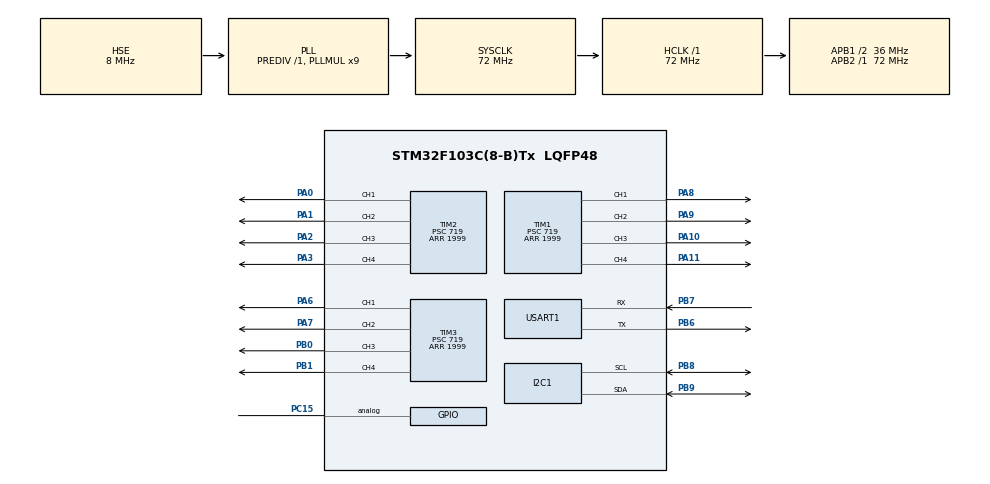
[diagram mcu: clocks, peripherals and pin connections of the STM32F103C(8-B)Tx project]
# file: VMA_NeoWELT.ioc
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Dma.Request0=USART1_RX
Dma.USART1_RX.0.Direction=DMA_PERIPH_TO_MEMORY
Dma.USART1_RX.0.Instance=DMA1_Channel5
Dma.USART1_RX.0.MemDataAlignment=DMA_MDATAALIGN_BYTE
Dma.USART1_RX.0.MemInc=DMA_MINC_ENABLE
Dma.USART1_RX.0.Mode=DMA_NORMAL
Dma.USART1_RX.0.PeriphDataAlignment=DMA_PDATAALIGN_BYTE
Dma.USART1_RX.0.PeriphInc=DMA_PINC_DISABLE
Dma.USART1_RX.0.Priority=DMA_PRIORITY_LOW
Mcu.Family=STM32F1
Mcu.Name=STM32F103C(8-B)Tx
Mcu.Package=LQFP48
NVIC.DMA1_Channel5_IRQn=true\:0\:0\:false\:false\:true\:false\:true\:true
NVIC.I2C1_ER_IRQn=true\:0\:0\:false\:false\:true\:true\:true\:true
NVIC.I2C1_EV_IRQn=true\:0\:0\:false\:false\:true\:true\:true\:true
NVIC.PriorityGroup=NVIC_PRIORITYGROUP_4
NVIC.USART1_IRQn=true\:0\:0\:false\:false\:true\:true\:true\:true
PA0-WKUP.Signal=S_TIM2_CH1_ETR
PA1.Signal=S_TIM2_CH2
PA10.Signal=S_TIM1_CH3
PA11.Signal=S_TIM1_CH4
PA13.Mode=Serial_Wire
PA13.Signal=SYS_JTMS-SWDIO
PA14.Mode=Serial_Wire
PA14.Signal=SYS_JTCK-SWCLK
PA2.Signal=S_TIM2_CH3
PA3.Signal=S_TIM2_CH4
PA6.Signal=S_TIM3_CH1
PA7.Signal=S_TIM3_CH2
PA8.Signal=S_TIM1_CH1
PA9.Signal=S_TIM1_CH2
PB0.Signal=S_TIM3_CH3
PB1.Signal=S_TIM3_CH4
PB6.Mode=Asynchronous
PB6.Signal=USART1_TX
PB7.Mode=Asynchronous
PB7.Signal=USART1_RX
PB8.Mode=I2C
PB8.Signal=I2C1_SCL
PB9.Mode=I2C
PB9.Signal=I2C1_SDA
PC15-OSC32_OUT.Signal=GPIO_Analog
PD0-OSC_IN.Mode=HSE-External-Oscillator
PD0-OSC_IN.Signal=RCC_OSC_IN
PD1-OSC_OUT.Mode=HSE-External-Oscillator
PD1-OSC_OUT.Signal=RCC_OSC_OUT
ProjectManager.HeapSize=0x200
ProjectManager.StackSize=0x400
ProjectManager.TargetToolchain=STM32CubeIDE
RCC.ADCPresc=RCC_ADCPCLK2_DIV6
RCC.AHBFreq_Value=72000000
RCC.APB1CLKDivider=RCC_HCLK_DIV2
RCC.APB1Freq_Value=36000000
RCC.APB1TimFreq_Value=72000000
RCC.APB2Freq_Value=72000000
RCC.APB2TimFreq_Value=72000000
RCC.HCLKFreq_Value=72000000
RCC.PLLMUL=RCC_PLL_MUL9
RCC.PLLSourceVirtual=RCC_PLLSOURCE_HSE
RCC.SYSCLKFreq_VALUE=72000000
RCC.SYSCLKSource=RCC_SYSCLKSOURCE_PLLCLK
RCC.USBFreq_Value=72000000
SH.S_TIM1_CH1.0=TIM1_CH1,PWM Generation1 CH1
SH.S_TIM1_CH2.0=TIM1_CH2,PWM Generation2 CH2
SH.S_TIM1_CH3.0=TIM1_CH3,PWM Generation3 CH3
SH.S_TIM1_CH4.0=TIM1_CH4,PWM Generation4 CH4
SH.S_TIM2_CH1_ETR.0=TIM2_CH1,PWM Generation1 CH1
SH.S_TIM2_CH2.0=TIM2_CH2,PWM Generation2 CH2
SH.S_TIM2_CH3.0=TIM2_CH3,PWM Generation3 CH3
SH.S_TIM2_CH4.0=TIM2_CH4,PWM Generation4 CH4
SH.S_TIM3_CH1.0=TIM3_CH1,PWM Generation1 CH1
SH.S_TIM3_CH2.0=TIM3_CH2,PWM Generation2 CH2
SH.S_TIM3_CH3.0=TIM3_CH3,PWM Generation3 CH3
SH.S_TIM3_CH4.0=TIM3_CH4,PWM Generation4 CH4
TIM1.Channel-PWM\ Generation1\ CH1=TIM_CHANNEL_1
TIM1.Channel-PWM\ Generation2\ CH2=TIM_CHANNEL_2
TIM1.Channel-PWM\ Generation3\ CH3=TIM_CHANNEL_3
TIM1.Channel-PWM\ Generation4\ CH4=TIM_CHANNEL_4
TIM1.Period=1999
TIM1.Prescaler=719
TIM2.Channel-PWM\ Generation1\ CH1=TIM_CHANNEL_1
TIM2.Channel-PWM\ Generation2\ CH2=TIM_CHANNEL_2
TIM2.Channel-PWM\ Generation3\ CH3=TIM_CHANNEL_3
TIM2.Channel-PWM\ Generation4\ CH4=TIM_CHANNEL_4
TIM2.Period=1999
TIM2.Prescaler=719
TIM3.Channel-PWM\ Generation1\ CH1=TIM_CHANNEL_1
TIM3.Channel-PWM\ Generation2\ CH2=TIM_CHANNEL_2
TIM3.Channel-PWM\ Generation3\ CH3=TIM_CHANNEL_3
TIM3.Channel-PWM\ Generation4\ CH4=TIM_CHANNEL_4
TIM3.Period=1999
TIM3.Prescaler=719
USART1.VirtualMode=VM_ASYNC
board=custom

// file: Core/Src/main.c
/* USER CODE BEGIN Header */
/**
 ******************************************************************************
 * @file           : main.c
 * @brief          : Main program body
 ******************************************************************************
 * @attention
 *
 * Copyright (c) 2025 STMicroelectronics.
 * All rights reserved.
 *
 * This software is licensed under terms that can be found in the LICENSE file
 * in the root directory of this software component.
 * If no LICENSE file comes with this software, it is provided AS-IS.
 *
 ******************************************************************************
 */
/* USER CODE END Header */
#include "main.h"

/* USER CODE BEGIN Includes */
#include "Thruster.h"
#include "hydrolib_ring_queue.h"
/* USER CODE END Includes */

I2C_HandleTypeDef hi2c1;

TIM_HandleTypeDef htim1;
TIM_HandleTypeDef htim2;
TIM_HandleTypeDef htim3;

UART_HandleTypeDef huart1;
DMA_HandleTypeDef hdma_usart1_rx;

/* USER CODE BEGIN PV */
uint8_t buffer_RX[28];
uint8_t buffer_ring[128];
hydrolib_RingQueue ringQueue;
int16_t buffer_index;
uint16_t data[12];
/* USER CODE END PV */

void SystemClock_Config(void);
static void MX_GPIO_Init(void);
static void MX_DMA_Init(void);
static void MX_I2C1_Init(void);
static void MX_TIM1_Init(void);
static void MX_TIM2_Init(void);
static void MX_TIM3_Init(void);
static void MX_USART1_UART_Init(void);

int main(void) {

	/* MCU Configuration--------------------------------------------------------*/

	/* Reset of all peripherals, Initializes the Flash interface and the Systick. */
	HAL_Init();

	/* Configure the system clock */
	SystemClock_Config();

	/* Initialize all configured peripherals */
	MX_GPIO_Init();
	MX_DMA_Init();
	MX_I2C1_Init();
	MX_TIM1_Init();
	MX_TIM2_Init();
	MX_TIM3_Init();
	MX_USART1_UART_Init();
	/* USER CODE BEGIN 2 */
	Thruster_Init();
//	hydrolib_RingQueue_Init(&ringQueue, buffer_ring, sizeof(buffer_ring));
//	HAL_UARTEx_ReceiveToIdle_DMA(&huart1, buffer_RX, 80);
	/* USER CODE END 2 */

	/* Infinite loop */
	while (1) {

		/* USER CODE BEGIN 3 */
		HAL_UART_Receive(&huart1, buffer_RX, 28, 200);
		for (uint8_t i = 0; i < 13; i++) {   // Searching for the packet header
			if ((buffer_RX[i] == 0xff) && (buffer_RX[i + 1] == 0xfd)) {
				buffer_index = i + 2;
				for (uint8_t j = 0; j < 12; j++) {

					data[j] = buffer_RX[buffer_index + j];
				}
				Thruster_Set_Speed(data);
				break;
			}
		}

	}
	/* USER CODE END 3 */
}

void SystemClock_Config(void) {
	RCC_OscInitTypeDef RCC_OscInitStruct = { 0 };
	RCC_ClkInitTypeDef RCC_ClkInitStruct = { 0 };

	/** Initializes the RCC Oscillators according to the specified parameters
	 * in the RCC_OscInitTypeDef structure.
	 */
	RCC_OscInitStruct.OscillatorType = RCC_OSCILLATORTYPE_HSE;
	RCC_OscInitStruct.HSEState = RCC_HSE_ON;
	RCC_OscInitStruct.HSEPredivValue = RCC_HSE_PREDIV_DIV1;
	RCC_OscInitStruct.HSIState = RCC_HSI_ON;
	RCC_OscInitStruct.PLL.PLLState = RCC_PLL_ON;
	RCC_OscInitStruct.PLL.PLLSource = RCC_PLLSOURCE_HSE;
	RCC_OscInitStruct.PLL.PLLMUL = RCC_PLL_MUL9;
	if (HAL_RCC_OscConfig(&RCC_OscInitStruct) != HAL_OK) {
		Error_Handler();
	}

	/** Initializes the CPU, AHB and APB buses clocks
	 */
	RCC_ClkInitStruct.ClockType = RCC_CLOCKTYPE_HCLK | RCC_CLOCKTYPE_SYSCLK
			| RCC_CLOCKTYPE_PCLK1 | RCC_CLOCKTYPE_PCLK2;
	RCC_ClkInitStruct.SYSCLKSource = RCC_SYSCLKSOURCE_PLLCLK;
	RCC_ClkInitStruct.AHBCLKDivider = RCC_SYSCLK_DIV1;
	RCC_ClkInitStruct.APB1CLKDivider = RCC_HCLK_DIV2;
	RCC_ClkInitStruct.APB2CLKDivider = RCC_HCLK_DIV1;

	if (HAL_RCC_ClockConfig(&RCC_ClkInitStruct, FLASH_LATENCY_2) != HAL_OK) {
		Error_Handler();
	}
}

static void MX_I2C1_Init(void) {

	hi2c1.Instance = I2C1;
	hi2c1.Init.ClockSpeed = 100000;
	hi2c1.Init.DutyCycle = I2C_DUTYCYCLE_2;
	hi2c1.Init.OwnAddress1 = 0;
	hi2c1.Init.AddressingMode = I2C_ADDRESSINGMODE_7BIT;
	hi2c1.Init.DualAddressMode = I2C_DUALADDRESS_DISABLE;
	hi2c1.Init.OwnAddress2 = 0;
	hi2c1.Init.GeneralCallMode = I2C_GENERALCALL_DISABLE;
	hi2c1.Init.NoStretchMode = I2C_NOSTRETCH_DISABLE;
	if (HAL_I2C_Init(&hi2c1) != HAL_OK) {
		Error_Handler();
	}

}

static void MX_TIM1_Init(void) {

	TIM_MasterConfigTypeDef sMasterConfig = { 0 };
	TIM_OC_InitTypeDef sConfigOC = { 0 };
	TIM_BreakDeadTimeConfigTypeDef sBreakDeadTimeConfig = { 0 };

	htim1.Instance = TIM1;
	htim1.Init.Prescaler = 719;
	htim1.Init.CounterMode = TIM_COUNTERMODE_UP;
	htim1.Init.Period = 1999;
	htim1.Init.ClockDivision = TIM_CLOCKDIVISION_DIV1;
	htim1.Init.RepetitionCounter = 0;
	htim1.Init.AutoReloadPreload = TIM_AUTORELOAD_PRELOAD_DISABLE;
	if (HAL_TIM_PWM_Init(&htim1) != HAL_OK) {
		Error_Handler();
	}
	sMasterConfig.MasterOutputTrigger = TIM_TRGO_RESET;
	sMasterConfig.MasterSlaveMode = TIM_MASTERSLAVEMODE_DISABLE;
	if (HAL_TIMEx_MasterConfigSynchronization(&htim1, &sMasterConfig)
			!= HAL_OK) {
		Error_Handler();
	}
	sConfigOC.OCMode = TIM_OCMODE_PWM1;
	sConfigOC.Pulse = 0;
	sConfigOC.OCPolarity = TIM_OCPOLARITY_HIGH;
	sConfigOC.OCNPolarity = TIM_OCNPOLARITY_HIGH;
	sConfigOC.OCFastMode = TIM_OCFAST_DISABLE;
	sConfigOC.OCIdleState = TIM_OCIDLESTATE_RESET;
	sConfigOC.OCNIdleState = TIM_OCNIDLESTATE_RESET;
	if (HAL_TIM_PWM_ConfigChannel(&htim1, &sConfigOC, TIM_CHANNEL_1)
			!= HAL_OK) {
		Error_Handler();
	}
	if (HAL_TIM_PWM_ConfigChannel(&htim1, &sConfigOC, TIM_CHANNEL_2)
			!= HAL_OK) {
		Error_Handler();
	}
	if (HAL_TIM_PWM_ConfigChannel(&htim1, &sConfigOC, TIM_CHANNEL_3)
			!= HAL_OK) {
		Error_Handler();
	}
	if (HAL_TIM_PWM_ConfigChannel(&htim1, &sConfigOC, TIM_CHANNEL_4)
			!= HAL_OK) {
		Error_Handler();
	}
	sBreakDeadTimeConfig.OffStateRunMode = TIM_OSSR_DISABLE;
	sBreakDeadTimeConfig.OffStateIDLEMode = TIM_OSSI_DISABLE;
	sBreakDeadTimeConfig.LockLevel = TIM_LOCKLEVEL_OFF;
	sBreakDeadTimeConfig.DeadTime = 0;
	sBreakDeadTimeConfig.BreakState = TIM_BREAK_DISABLE;
	sBreakDeadTimeConfig.BreakPolarity = TIM_BREAKPOLARITY_HIGH;
	sBreakDeadTimeConfig.AutomaticOutput = TIM_AUTOMATICOUTPUT_DISABLE;
	if (HAL_TIMEx_ConfigBreakDeadTime(&htim1, &sBreakDeadTimeConfig)
			!= HAL_OK) {
		Error_Handler();
	}
	HAL_TIM_MspPostInit(&htim1);

}

static void MX_TIM2_Init(void) {

	TIM_MasterConfigTypeDef sMasterConfig = { 0 };
	TIM_OC_InitTypeDef sConfigOC = { 0 };

	htim2.Instance = TIM2;
	htim2.Init.Prescaler = 719;
	htim2.Init.CounterMode = TIM_COUNTERMODE_UP;
	htim2.Init.Period = 1999;
	htim2.Init.ClockDivision = TIM_CLOCKDIVISION_DIV1;
	htim2.Init.AutoReloadPreload = TIM_AUTORELOAD_PRELOAD_DISABLE;
	if (HAL_TIM_PWM_Init(&htim2) != HAL_OK) {
		Error_Handler();
	}
	sMasterConfig.MasterOutputTrigger = TIM_TRGO_RESET;
	sMasterConfig.MasterSlaveMode = TIM_MASTERSLAVEMODE_DISABLE;
	if (HAL_TIMEx_MasterConfigSynchronization(&htim2, &sMasterConfig)
			!= HAL_OK) {
		Error_Handler();
	}
	sConfigOC.OCMode = TIM_OCMODE_PWM1;
	sConfigOC.Pulse = 0;
	sConfigOC.OCPolarity = TIM_OCPOLARITY_HIGH;
	sConfigOC.OCFastMode = TIM_OCFAST_DISABLE;
	if (HAL_TIM_PWM_ConfigChannel(&htim2, &sConfigOC, TIM_CHANNEL_1)
			!= HAL_OK) {
		Error_Handler();
	}
	if (HAL_TIM_PWM_ConfigChannel(&htim2, &sConfigOC, TIM_CHANNEL_2)
			!= HAL_OK) {
		Error_Handler();
	}
	if (HAL_TIM_PWM_ConfigChannel(&htim2, &sConfigOC, TIM_CHANNEL_3)
			!= HAL_OK) {
		Error_Handler();
	}
	if (HAL_TIM_PWM_ConfigChannel(&htim2, &sConfigOC, TIM_CHANNEL_4)
			!= HAL_OK) {
		Error_Handler();
	}
	HAL_TIM_MspPostInit(&htim2);

}

static void MX_TIM3_Init(void) {

	TIM_MasterConfigTypeDef sMasterConfig = { 0 };
	TIM_OC_InitTypeDef sConfigOC = { 0 };

	htim3.Instance = TIM3;
	htim3.Init.Prescaler = 719;
	htim3.Init.CounterMode = TIM_COUNTERMODE_UP;
	htim3.Init.Period = 1999;
	htim3.Init.ClockDivision = TIM_CLOCKDIVISION_DIV1;
	htim3.Init.AutoReloadPreload = TIM_AUTORELOAD_PRELOAD_DISABLE;
	if (HAL_TIM_PWM_Init(&htim3) != HAL_OK) {
		Error_Handler();
	}
	sMasterConfig.MasterOutputTrigger = TIM_TRGO_RESET;
	sMasterConfig.MasterSlaveMode = TIM_MASTERSLAVEMODE_DISABLE;
	if (HAL_TIMEx_MasterConfigSynchronization(&htim3, &sMasterConfig)
			!= HAL_OK) {
		Error_Handler();
	}
	sConfigOC.OCMode = TIM_OCMODE_PWM1;
	sConfigOC.Pulse = 0;
	sConfigOC.OCPolarity = TIM_OCPOLARITY_HIGH;
	sConfigOC.OCFastMode = TIM_OCFAST_DISABLE;
	if (HAL_TIM_PWM_ConfigChannel(&htim3, &sConfigOC, TIM_CHANNEL_1)
			!= HAL_OK) {
		Error_Handler();
	}
	if (HAL_TIM_PWM_ConfigChannel(&htim3, &sConfigOC, TIM_CHANNEL_2)
			!= HAL_OK) {
		Error_Handler();
	}
	if (HAL_TIM_PWM_ConfigChannel(&htim3, &sConfigOC, TIM_CHANNEL_3)
			!= HAL_OK) {
		Error_Handler();
	}
	if (HAL_TIM_PWM_ConfigChannel(&htim3, &sConfigOC, TIM_CHANNEL_4)
			!= HAL_OK) {
		Error_Handler();
	}
	HAL_TIM_MspPostInit(&htim3);

}

static void MX_USART1_UART_Init(void) {

	huart1.Instance = USART1;
	huart1.Init.BaudRate = 115200;
	huart1.Init.WordLength = UART_WORDLENGTH_8B;
	huart1.Init.StopBits = UART_STOPBITS_1;
	huart1.Init.Parity = UART_PARITY_NONE;
	huart1.Init.Mode = UART_MODE_TX_RX;
	huart1.Init.HwFlowCtl = UART_HWCONTROL_NONE;
	huart1.Init.OverSampling = UART_OVERSAMPLING_16;
	if (HAL_UART_Init(&huart1) != HAL_OK) {
		Error_Handler();
	}

}

static void MX_DMA_Init(void) {

	/* DMA controller clock enable */
	__HAL_RCC_DMA1_CLK_ENABLE();

	/* DMA interrupt init */
	/* DMA1_Channel5_IRQn interrupt configuration */
	HAL_NVIC_SetPriority(DMA1_Channel5_IRQn, 0, 0);
	HAL_NVIC_EnableIRQ(DMA1_Channel5_IRQn);

}

static void MX_GPIO_Init(void) {
	GPIO_InitTypeDef GPIO_InitStruct = { 0 };

	/* GPIO Ports Clock Enable */
	__HAL_RCC_GPIOC_CLK_ENABLE();
	__HAL_RCC_GPIOD_CLK_ENABLE();
	__HAL_RCC_GPIOA_CLK_ENABLE();
	__HAL_RCC_GPIOB_CLK_ENABLE();

	/*Configure GPIO pin : PC15 */
	GPIO_InitStruct.Pin = GPIO_PIN_15;
	GPIO_InitStruct.Mode = GPIO_MODE_ANALOG;
	HAL_GPIO_Init(GPIOC, &GPIO_InitStruct);

}

/* USER CODE BEGIN 4 */

//void HAL_UARTEx_RxEventCallback(UART_HandleTypeDef *huart, uint16_t Size) {
//
//	if (huart->Instance == USART1) {  // Проверяем, что это нужный UART
//		hydrolib_RingQueue_Push(&ringQueue, buffer_RX, Size); // Копируем данные в кольцевой буфер
//
//		// Перезапускаем UART DMA
//		HAL_UARTEx_ReceiveToIdle_DMA(&huart1, buffer_RX, sizeof(buffer_RX));
//	}
//}
//
//void ProcessUARTData(){
//	int16_t startIdx = hydrolib_RingQueue_Read2BytesLE(&ringQueue, 0XFFFD, 0);
//
//	while (startIdx >= 0) {
//
//		if (hydrolib_RingQueue_GetLength(&ringQueue) >= 26) { //воруем дату и кидаем ее на движки
//			hydrolib_RingQueue_Drop(&ringQueue, startIdx);
//			Thruster_Set_Speed(packet+2);
//
//		} else {
//			break;  // Ждём, когда будет 15 байтов
//		}
//
//		startIdx = hydrolib_RingQueue_Read2BytesLE(&ringQueue, 0XFFFD, 0); // �?щем следующий пакет
//	}
//
//}
/* USER CODE END 4 */

void Error_Handler(void) {
	__disable_irq();
	while (1) {
	}
}
